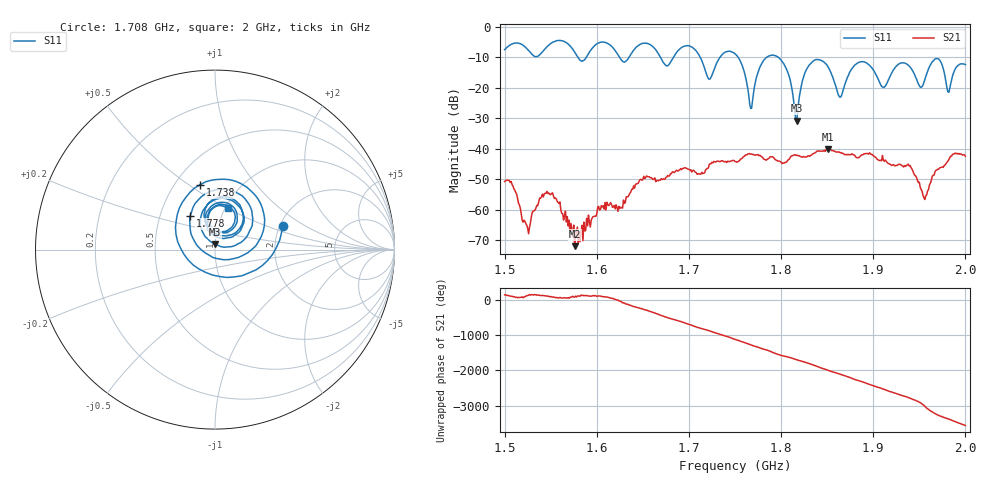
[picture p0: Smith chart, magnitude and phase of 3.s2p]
! NanoVNA-App by SYSJOINT et al v1.1.209 (+OD18)
! Date: 2026-01-21 14:27:55
! Start: 1,5GHz Stop: 2GHz Points: 501
! S-Parameter data: F S11 S21 S12 S22
# Hz S RI R 50
!  Frequency  S11_Real  S11_Imag  S21_Real  S21_Imag  S12_Real  S12_Imag  S22_Real  S22_Imag
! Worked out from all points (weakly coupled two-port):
!   501 points, 1.5 GHz to 2 GHz, reference 50 ohm
!   highest |S21| = -40.08 dB at 1.851 GHz (marker M1); lowest = -72.0 dB at 1.576 GHz (marker M2)
!   lowest |S11| = -30.8 dB at 1.817 GHz (marker M3), VSWR 1.06, Z = 50 + j2.88 ohm
!   |S11| at or under -10 dB: 1.712 GHz to 1.734 GHz (21.48 MHz wide, 1.25 % of centre); 1.753 GHz to 1.784 GHz (30.97 MHz wide, 1.75 % of centre); 1.797 GHz to end of sweep (the widest 3 of 6)
!   S12 and S22 are empty: the file has one direction only
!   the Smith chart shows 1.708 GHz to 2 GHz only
!   S11 on the Smith chart (normalised r, x): 1.708 GHz: 2.08, +0.66; 1.738 GHz: 0.66, +0.55; 1.778 GHz: 0.71, +0.28; 2 GHz: 1.03, +0.50
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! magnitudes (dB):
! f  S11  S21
! 1.5 GHz  -7.5  -50.8
! 1.525 GHz  -7.4  -66.0
! 1.546 GHz  -6.5  -54.0
! 1.576 GHz  -8.3  -72.0
! 1.584 GHz  -11.3  -65.2
! 1.667 GHz  -8.9  -50.5
! 1.708 GHz  -7.9  -47.9
! 1.722 GHz  -17.2  -45.2
! 1.738 GHz  -8.6  -44.3
! 1.75 GHz  -8.8  -44.2
! 1.767 GHz  -26.8  -41.8
! 1.778 GHz  -12.7  -42.4
! 1.801 GHz  -11.3  -44.9
! 1.817 GHz  -30.8  -42.1
! 1.834 GHz  -11.5  -41.9
! 1.851 GHz  -13.2  -40.1
! 1.864 GHz  -23.1  -41.3
! 1.885 GHz  -11.6  -42.8
! 1.917 GHz  -17.1  -45.0
! 1.956 GHz  -17.3  -56.7
! 1.982 GHz  -21.5  -43.6
! 2 GHz  -12.4  -42.5
